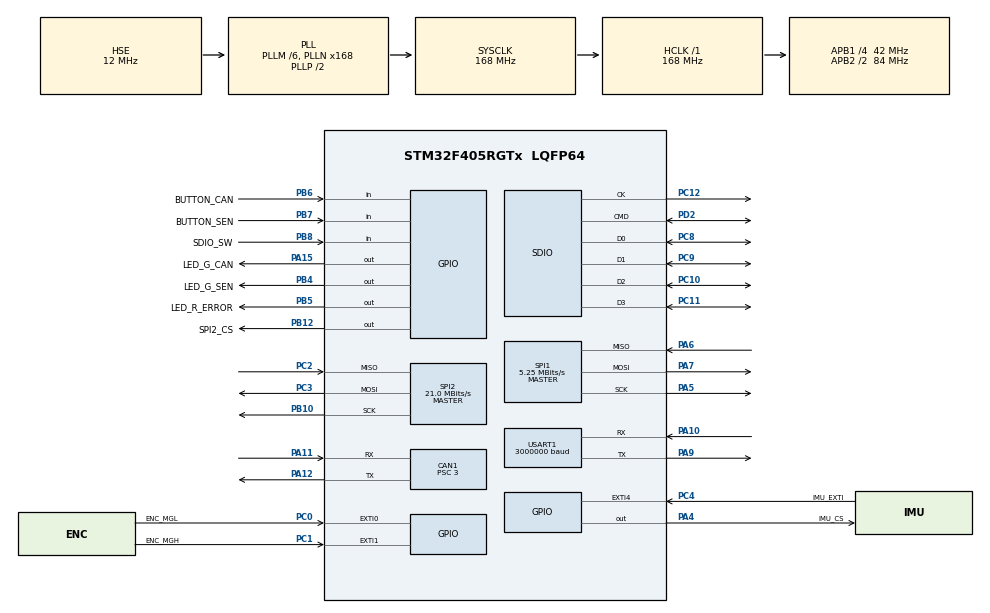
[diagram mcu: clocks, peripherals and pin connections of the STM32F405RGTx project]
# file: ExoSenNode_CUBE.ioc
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CAN1.AWUM=ENABLE
CAN1.BS1=CAN_BS1_6TQ
CAN1.BS2=CAN_BS2_7TQ
CAN1.CalculateTimeQuantum=71.42857142857143
CAN1.Prescaler=3
Dma.Request0=SPI1_RX
Dma.Request1=SPI1_TX
Dma.Request2=SPI2_RX
Dma.Request3=SPI2_TX
Dma.Request4=SDIO_RX
Dma.Request5=SDIO_TX
Dma.SDIO_RX.4.Direction=DMA_PERIPH_TO_MEMORY
Dma.SDIO_RX.4.FIFOMode=DMA_FIFOMODE_ENABLE
Dma.SDIO_RX.4.FIFOThreshold=DMA_FIFO_THRESHOLD_FULL
Dma.SDIO_RX.4.Instance=DMA2_Stream6
Dma.SDIO_RX.4.MemBurst=DMA_MBURST_INC4
Dma.SDIO_RX.4.MemDataAlignment=DMA_MDATAALIGN_WORD
Dma.SDIO_RX.4.MemInc=DMA_MINC_ENABLE
Dma.SDIO_RX.4.Mode=DMA_PFCTRL
Dma.SDIO_RX.4.PeriphBurst=DMA_PBURST_INC4
Dma.SDIO_RX.4.PeriphDataAlignment=DMA_PDATAALIGN_WORD
Dma.SDIO_RX.4.PeriphInc=DMA_PINC_DISABLE
Dma.SDIO_RX.4.Priority=DMA_PRIORITY_LOW
Dma.SDIO_TX.5.Direction=DMA_MEMORY_TO_PERIPH
Dma.SDIO_TX.5.FIFOMode=DMA_FIFOMODE_ENABLE
Dma.SDIO_TX.5.FIFOThreshold=DMA_FIFO_THRESHOLD_FULL
Dma.SDIO_TX.5.Instance=DMA2_Stream3
Dma.SDIO_TX.5.MemBurst=DMA_MBURST_INC4
Dma.SDIO_TX.5.MemDataAlignment=DMA_MDATAALIGN_WORD
Dma.SDIO_TX.5.MemInc=DMA_MINC_ENABLE
Dma.SDIO_TX.5.Mode=DMA_PFCTRL
Dma.SDIO_TX.5.PeriphBurst=DMA_PBURST_INC4
Dma.SDIO_TX.5.PeriphDataAlignment=DMA_PDATAALIGN_WORD
Dma.SDIO_TX.5.PeriphInc=DMA_PINC_DISABLE
Dma.SDIO_TX.5.Priority=DMA_PRIORITY_LOW
Dma.SPI1_RX.0.Direction=DMA_PERIPH_TO_MEMORY
Dma.SPI1_RX.0.FIFOMode=DMA_FIFOMODE_DISABLE
Dma.SPI1_RX.0.Instance=DMA2_Stream0
Dma.SPI1_RX.0.MemDataAlignment=DMA_MDATAALIGN_BYTE
Dma.SPI1_RX.0.MemInc=DMA_MINC_ENABLE
Dma.SPI1_RX.0.Mode=DMA_CIRCULAR
Dma.SPI1_RX.0.PeriphDataAlignment=DMA_PDATAALIGN_BYTE
Dma.SPI1_RX.0.PeriphInc=DMA_PINC_DISABLE
Dma.SPI1_RX.0.Priority=DMA_PRIORITY_MEDIUM
Dma.SPI1_TX.1.Direction=DMA_MEMORY_TO_PERIPH
Dma.SPI1_TX.1.FIFOMode=DMA_FIFOMODE_DISABLE
Dma.SPI1_TX.1.Instance=DMA2_Stream5
Dma.SPI1_TX.1.MemDataAlignment=DMA_MDATAALIGN_BYTE
Dma.SPI1_TX.1.MemInc=DMA_MINC_ENABLE
Dma.SPI1_TX.1.Mode=DMA_NORMAL
Dma.SPI1_TX.1.PeriphDataAlignment=DMA_PDATAALIGN_BYTE
Dma.SPI1_TX.1.PeriphInc=DMA_PINC_DISABLE
Dma.SPI1_TX.1.Priority=DMA_PRIORITY_LOW
Dma.SPI2_RX.2.Direction=DMA_PERIPH_TO_MEMORY
Dma.SPI2_RX.2.FIFOMode=DMA_FIFOMODE_ENABLE
Dma.SPI2_RX.2.FIFOThreshold=DMA_FIFO_THRESHOLD_FULL
Dma.SPI2_RX.2.Instance=DMA1_Stream3
Dma.SPI2_RX.2.MemBurst=DMA_MBURST_SINGLE
Dma.SPI2_RX.2.MemDataAlignment=DMA_MDATAALIGN_HALFWORD
Dma.SPI2_RX.2.MemInc=DMA_MINC_DISABLE
Dma.SPI2_RX.2.Mode=DMA_NORMAL
Dma.SPI2_RX.2.PeriphBurst=DMA_PBURST_SINGLE
Dma.SPI2_RX.2.PeriphDataAlignment=DMA_PDATAALIGN_HALFWORD
Dma.SPI2_RX.2.PeriphInc=DMA_PINC_DISABLE
Dma.SPI2_RX.2.Priority=DMA_PRIORITY_MEDIUM
Dma.SPI2_TX.3.Direction=DMA_MEMORY_TO_PERIPH
Dma.SPI2_TX.3.FIFOMode=DMA_FIFOMODE_DISABLE
Dma.SPI2_TX.3.Instance=DMA1_Stream4
Dma.SPI2_TX.3.MemDataAlignment=DMA_MDATAALIGN_HALFWORD
Dma.SPI2_TX.3.MemInc=DMA_MINC_ENABLE
Dma.SPI2_TX.3.Mode=DMA_NORMAL
Dma.SPI2_TX.3.PeriphDataAlignment=DMA_PDATAALIGN_HALFWORD
Dma.SPI2_TX.3.PeriphInc=DMA_PINC_DISABLE
Dma.SPI2_TX.3.Priority=DMA_PRIORITY_LOW
FATFS.BSP.number=1
FATFS._USE_LFN=2
FATFS0.BSP.STBoard=false
FATFS0.BSP.api=Unknown
FATFS0.BSP.i2caddr=0
FATFS0.BSP.instance=PB8
FATFS0.BSP.ip=GPIO
FATFS0.BSP.mode=Input
FATFS0.BSP.name=Detect_SDIO
FATFS0.BSP.solution=PB8
FREERTOS.INCLUDE_uxTaskGetStackHighWaterMark=1
FREERTOS.INCLUDE_vTaskDelayUntil=1
FREERTOS.MEMORY_ALLOCATION=2
FREERTOS.Tasks01=fatfsThread,0,256,fatfsThreadFunc,As weak,NULL,Static,fatfsThreadStack,fatfsThreadTCB
FREERTOS.configCHECK_FOR_STACK_OVERFLOW=1
FREERTOS.configGENERATE_RUN_TIME_STATS=1
FREERTOS.configRECORD_STACK_HIGH_ADDRESS=1
FREERTOS.configTOTAL_HEAP_SIZE=16384
FREERTOS.configUSE_DAEMON_TASK_STARTUP_HOOK=1
FREERTOS.configUSE_IDLE_HOOK=1
FREERTOS.configUSE_MALLOC_FAILED_HOOK=1
FREERTOS.configUSE_STATS_FORMATTING_FUNCTIONS=1
FREERTOS.configUSE_TICKLESS_IDLE=1
FREERTOS.configUSE_TICK_HOOK=1
FREERTOS.configUSE_TIMERS=1
FREERTOS.configUSE_TRACE_FACILITY=1
Mcu.Family=STM32F4
Mcu.Name=STM32F405RGTx
Mcu.Package=LQFP64
NVIC.CAN1_RX0_IRQn=true\:5\:0\:false\:false\:true\:true\:true\:true
NVIC.CAN1_RX1_IRQn=true\:5\:0\:false\:false\:true\:true\:true\:true
NVIC.CAN1_SCE_IRQn=true\:5\:0\:false\:false\:true\:true\:true\:true
NVIC.CAN1_TX_IRQn=true\:5\:0\:false\:false\:true\:true\:true\:true
NVIC.DMA1_Stream3_IRQn=true\:5\:0\:false\:false\:true\:true\:false\:true
NVIC.DMA1_Stream4_IRQn=true\:5\:0\:false\:false\:true\:true\:false\:true
NVIC.DMA2_Stream0_IRQn=true\:5\:0\:false\:false\:true\:true\:false\:true
NVIC.DMA2_Stream3_IRQn=true\:5\:0\:false\:false\:true\:true\:false\:true
NVIC.DMA2_Stream5_IRQn=true\:5\:0\:false\:false\:true\:false\:false\:true
NVIC.DMA2_Stream6_IRQn=true\:5\:0\:false\:false\:true\:true\:false\:true
NVIC.PriorityGroup=NVIC_PRIORITYGROUP_4
NVIC.SDIO_IRQn=true\:5\:0\:true\:false\:true\:true\:true\:true
NVIC.SPI1_IRQn=true\:5\:0\:false\:false\:true\:true\:true\:true
NVIC.SPI2_IRQn=true\:5\:0\:false\:false\:true\:true\:true\:true
NVIC.TIM6_DAC_IRQn=true\:0\:0\:false\:false\:true\:false\:false\:true
NVIC.TimeBase=TIM6_DAC_IRQn
NVIC.TimeBaseIP=TIM6
NVIC.USART1_IRQn=true\:5\:0\:false\:false\:true\:true\:true\:true
PA10.Mode=Asynchronous
PA10.Signal=USART1_RX
PA11.Mode=Master
PA11.Signal=CAN1_RX
PA12.Mode=Master
PA12.Signal=CAN1_TX
PA13.Mode=Trace_Asynchronous_SW
PA13.Signal=SYS_JTMS-SWDIO
PA14.Mode=Trace_Asynchronous_SW
PA14.Signal=SYS_JTCK-SWCLK
PA15.GPIO_Label=LED_G_CAN
PA15.Signal=GPIO_Output
PA4.GPIO_Label=IMU_CS
PA4.GPIO_Speed=GPIO_SPEED_FREQ_VERY_HIGH
PA4.PinState=GPIO_PIN_SET
PA4.Signal=GPIO_Output
PA5.Mode=Full_Duplex_Master
PA5.Signal=SPI1_SCK
PA6.Mode=Full_Duplex_Master
PA6.Signal=SPI1_MISO
PA7.Mode=Full_Duplex_Master
PA7.Signal=SPI1_MOSI
PA9.Mode=Asynchronous
PA9.Signal=USART1_TX
PB10.Mode=Full_Duplex_Master
PB10.Signal=SPI2_SCK
PB12.GPIO_Label=SPI2_CS
PB12.GPIO_ModeDefaultOutputPP=GPIO_MODE_OUTPUT_PP
PB12.GPIO_PuPd=GPIO_NOPULL
PB12.GPIO_Speed=GPIO_SPEED_FREQ_VERY_HIGH
PB12.PinState=GPIO_PIN_SET
PB12.Signal=GPIO_Output
PB3.Mode=Trace_Asynchronous_SW
PB3.Signal=SYS_JTDO-SWO
PB4.GPIO_Label=LED_G_SEN
PB4.Signal=GPIO_Output
PB5.GPIO_Label=LED_R_ERROR
PB5.Signal=GPIO_Output
PB6.GPIO_Label=BUTTON_CAN
PB6.Signal=GPIO_Input
PB7.GPIO_Label=BUTTON_SEN
PB7.Signal=GPIO_Input
PB8.GPIO_Label=SDIO_SW
PB8.Signal=GPIO_Input
PC0.GPIO_Label=ENC_MGL
PC0.Signal=GPXTI0
PC1.GPIO_Label=ENC_MGH
PC1.Signal=GPXTI1
PC10.Mode=SD_4_bits_Wide_bus
PC10.Signal=SDIO_D2
PC11.Mode=SD_4_bits_Wide_bus
PC11.Signal=SDIO_D3
PC12.Mode=SD_4_bits_Wide_bus
PC12.Signal=SDIO_CK
PC2.Mode=Full_Duplex_Master
PC2.Signal=SPI2_MISO
PC3.Mode=Full_Duplex_Master
PC3.Signal=SPI2_MOSI
PC4.GPIO_Label=IMU_EXTI
PC4.Signal=GPXTI4
PC8.Mode=SD_4_bits_Wide_bus
PC8.Signal=SDIO_D0
PC9.Mode=SD_4_bits_Wide_bus
PC9.Signal=SDIO_D1
PD2.Mode=SD_4_bits_Wide_bus
PD2.Signal=SDIO_CMD
PH0-OSC_IN.Mode=HSE-External-Oscillator
PH0-OSC_IN.Signal=RCC_OSC_IN
PH1-OSC_OUT.Mode=HSE-External-Oscillator
PH1-OSC_OUT.Signal=RCC_OSC_OUT
ProjectManager.HeapSize=0x200
ProjectManager.StackSize=0x400
ProjectManager.TargetToolchain=Makefile
RCC.48MHZClocksFreq_Value=48000000
RCC.AHBFreq_Value=168000000
RCC.APB1CLKDivider=RCC_HCLK_DIV4
RCC.APB1Freq_Value=42000000
RCC.APB1TimFreq_Value=84000000
RCC.APB2CLKDivider=RCC_HCLK_DIV2
RCC.APB2Freq_Value=84000000
RCC.APB2TimFreq_Value=168000000
RCC.CortexFreq_Value=168000000
RCC.HCLKFreq_Value=168000000
RCC.HSE_VALUE=12000000
RCC.HSI_VALUE=16000000
RCC.LSE_VALUE=32768
RCC.PLLM=6
RCC.PLLN=168
RCC.PLLQ=7
RCC.PLLSourceVirtual=RCC_PLLSOURCE_HSE
RCC.SYSCLKFreq_VALUE=168000000
RCC.SYSCLKSource=RCC_SYSCLKSOURCE_PLLCLK
RCC.VCOOutputFreq_Value=336000000
SPI1.BaudRatePrescaler=SPI_BAUDRATEPRESCALER_16
SPI1.CLKPolarity=SPI_POLARITY_LOW
SPI1.CalculateBaudRate=5.25 MBits/s
SPI1.Direction=SPI_DIRECTION_2LINES
SPI1.Mode=SPI_MODE_MASTER
SPI1.VirtualType=VM_MASTER
SPI2.BaudRatePrescaler=SPI_BAUDRATEPRESCALER_2
SPI2.CLKPolarity=SPI_POLARITY_HIGH
SPI2.CalculateBaudRate=21.0 MBits/s
SPI2.DataSize=SPI_DATASIZE_16BIT
SPI2.Direction=SPI_DIRECTION_2LINES
SPI2.Mode=SPI_MODE_MASTER
SPI2.VirtualType=VM_MASTER
USART1.BaudRate=3000000
USART1.VirtualMode=VM_ASYNC
VP_FATFS_VS_SDIO.Mode=SDIO
VP_FREERTOS_VS_CMSIS_V1.Mode=CMSIS_V1
VP_SYS_VS_tim6.Mode=TIM6
board=custom

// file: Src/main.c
/* USER CODE BEGIN Header */
/**
  ******************************************************************************
  * @file           : main.c
  * @brief          : Main program body
  ******************************************************************************
  * This notice applies to any and all portions of this file
  * that are not between comment pairs USER CODE BEGIN and
  * USER CODE END. Other portions of this file, whether
  * inserted by the user or by software development tools
  * are owned by their respective copyright owners.
  *
  * Copyright (c) 2019 STMicroelectronics International N.V.
  * All rights reserved.
  *
  * Redistribution and use in source and binary forms, with or without
  * modification, are permitted, provided that the following conditions are met:
  *
  * 1. Redistribution of source code must retain the above copyright notice,
  *    this list of conditions and the following disclaimer.
  * 2. Redistributions in binary form must reproduce the above copyright notice,
  *    this list of conditions and the following disclaimer in the documentation
  *    and/or other materials provided with the distribution.
  * 3. Neither the name of STMicroelectronics nor the names of other
  *    contributors to this software may be used to endorse or promote products
  *    derived from this software without specific written permission.
  * 4. This software, including modifications and/or derivative works of this
  *    software, must execute solely and exclusively on microcontroller or
  *    microprocessor devices manufactured by or for STMicroelectronics.
  * 5. Redistribution and use of this software other than as permitted under
  *    this license is void and will automatically terminate your rights under
  *    this license.
  *
  * THIS SOFTWARE IS PROVIDED BY STMICROELECTRONICS AND CONTRIBUTORS "AS IS"
  * AND ANY EXPRESS, IMPLIED OR STATUTORY WARRANTIES, INCLUDING, BUT NOT
  * LIMITED TO, THE IMPLIED WARRANTIES OF MERCHANTABILITY, FITNESS FOR A
  * PARTICULAR PURPOSE AND NON-INFRINGEMENT OF THIRD PARTY INTELLECTUAL PROPERTY
  * RIGHTS ARE DISCLAIMED TO THE FULLEST EXTENT PERMITTED BY LAW. IN NO EVENT
  * SHALL STMICROELECTRONICS OR CONTRIBUTORS BE LIABLE FOR ANY DIRECT, INDIRECT,
  * INCIDENTAL, SPECIAL, EXEMPLARY, OR CONSEQUENTIAL DAMAGES (INCLUDING, BUT NOT
  * LIMITED TO, PROCUREMENT OF SUBSTITUTE GOODS OR SERVICES; LOSS OF USE, DATA,
  * OR PROFITS; OR BUSINESS INTERRUPTION) HOWEVER CAUSED AND ON ANY THEORY OF
  * LIABILITY, WHETHER IN CONTRACT, STRICT LIABILITY, OR TORT (INCLUDING
  * NEGLIGENCE OR OTHERWISE) ARISING IN ANY WAY OUT OF THE USE OF THIS SOFTWARE,
  * EVEN IF ADVISED OF THE POSSIBILITY OF SUCH DAMAGE.
  *
  ******************************************************************************
  */
/* USER CODE END Header */

#include "main.h"
#include "cmsis_os.h"
#include "can.h"
#include "dma.h"
#include "fatfs.h"
#include "sdio.h"
#include "spi.h"
#include "usart.h"
#include "gpio.h"

/* USER CODE BEGIN Includes */

#include "bsp_driver_sd.h"
#include "stm32f4xx_hal.h"
#include "fatfs.h"
#include "sdio.h"
#include "sd_card.h"
#include "flash.h"

#include "SEGGER_SYSVIEW.h"

/* USER CODE END Includes */

/* USER CODE BEGIN PV */
uint8_t isMaster = 0;
uint8_t sensorNodeID = 0;
int32_t timeDiffMaster = 0;    //delay in tick between this node and master node, eq to masterTick - selfTick
/* USER CODE END PV */

void SystemClock_Config(void);
void MX_FREERTOS_Init(void);

int main(void)
{
  /* USER CODE BEGIN 1 */
  DWT->CTRL |= (1 << 0);    //enable cortex m DWT cycle counting
  /* USER CODE END 1 */

  /* MCU Configuration--------------------------------------------------------*/

  /* Reset of all peripherals, Initializes the Flash interface and the Systick. */
  HAL_Init();

  /* Configure the system clock */
  SystemClock_Config();

  /* USER CODE BEGIN SysInit */
  SEGGER_SYSVIEW_Conf();
  /* USER CODE END SysInit */

  /* Initialize all configured peripherals */
  MX_GPIO_Init();
  MX_DMA_Init();
  MX_CAN1_Init();
  MX_SDIO_SD_Init();
  MX_SPI1_Init();
  MX_USART1_UART_Init();
  MX_SPI2_Init();
  /* USER CODE BEGIN 2 */

  gFlashSaveFlag = FLASH_SAVE_READY;    //Setup flash parameter saving and loading
  flashLoad(NULL);                      //Load default set of parameters

  //canIDInit();    // Initialize can ID

  /* USER CODE END 2 */

  /* Call init function for freertos objects (in freertos.c) */
  MX_FREERTOS_Init();

  /* Start scheduler */
  osKernelStart();

  /* We should never get here as control is now taken by the scheduler */

  /* Infinite loop */
  while (1)
  {

  }
}

void SystemClock_Config(void)
{
  RCC_OscInitTypeDef RCC_OscInitStruct = {0};
  RCC_ClkInitTypeDef RCC_ClkInitStruct = {0};

  /** Configure the main internal regulator output voltage
  */
  __HAL_RCC_PWR_CLK_ENABLE();
  __HAL_PWR_VOLTAGESCALING_CONFIG(PWR_REGULATOR_VOLTAGE_SCALE1);
  /** Initializes the CPU, AHB and APB busses clocks
  */
  RCC_OscInitStruct.OscillatorType = RCC_OSCILLATORTYPE_HSE;
  RCC_OscInitStruct.HSEState = RCC_HSE_ON;
  RCC_OscInitStruct.PLL.PLLState = RCC_PLL_ON;
  RCC_OscInitStruct.PLL.PLLSource = RCC_PLLSOURCE_HSE;
  RCC_OscInitStruct.PLL.PLLM = 6;
  RCC_OscInitStruct.PLL.PLLN = 168;
  RCC_OscInitStruct.PLL.PLLP = RCC_PLLP_DIV2;
  RCC_OscInitStruct.PLL.PLLQ = 7;
  if (HAL_RCC_OscConfig(&RCC_OscInitStruct) != HAL_OK)
  {
    Error_Handler();
  }
  /** Initializes the CPU, AHB and APB busses clocks
  */
  RCC_ClkInitStruct.ClockType = RCC_CLOCKTYPE_HCLK|RCC_CLOCKTYPE_SYSCLK
                              |RCC_CLOCKTYPE_PCLK1|RCC_CLOCKTYPE_PCLK2;
  RCC_ClkInitStruct.SYSCLKSource = RCC_SYSCLKSOURCE_PLLCLK;
  RCC_ClkInitStruct.AHBCLKDivider = RCC_SYSCLK_DIV1;
  RCC_ClkInitStruct.APB1CLKDivider = RCC_HCLK_DIV4;
  RCC_ClkInitStruct.APB2CLKDivider = RCC_HCLK_DIV2;

  if (HAL_RCC_ClockConfig(&RCC_ClkInitStruct, FLASH_LATENCY_5) != HAL_OK)
  {
    Error_Handler();
  }
}

void HAL_TIM_PeriodElapsedCallback(TIM_HandleTypeDef *htim)
{
  if (htim->Instance == TIM6) {
    HAL_IncTick();
  }
}

void Error_Handler(void)
{
}

/************************ (C) COPYRIGHT STMicroelectronics *****END OF FILE****/

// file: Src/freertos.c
/* USER CODE BEGIN Header */
/**
  ******************************************************************************
  * File Name          : freertos.c
  * Description        : Code for freertos applications
  ******************************************************************************
  * This notice applies to any and all portions of this file
  * that are not between comment pairs USER CODE BEGIN and
  * USER CODE END. Other portions of this file, whether
  * inserted by the user or by software development tools
  * are owned by their respective copyright owners.
  *
  * Copyright (c) 2019 STMicroelectronics International N.V.
  * All rights reserved.
  *
  * Redistribution and use in source and binary forms, with or without
  * modification, are permitted, provided that the following conditions are met:
  *
  * 1. Redistribution of source code must retain the above copyright notice,
  *    this list of conditions and the following disclaimer.
  * 2. Redistributions in binary form must reproduce the above copyright notice,
  *    this list of conditions and the following disclaimer in the documentation
  *    and/or other materials provided with the distribution.
  * 3. Neither the name of STMicroelectronics nor the names of other
  *    contributors to this software may be used to endorse or promote products
  *    derived from this software without specific written permission.
  * 4. This software, including modifications and/or derivative works of this
  *    software, must execute solely and exclusively on microcontroller or
  *    microprocessor devices manufactured by or for STMicroelectronics.
  * 5. Redistribution and use of this software other than as permitted under
  *    this license is void and will automatically terminate your rights under
  *    this license.
  *
  * THIS SOFTWARE IS PROVIDED BY STMICROELECTRONICS AND CONTRIBUTORS "AS IS"
  * AND ANY EXPRESS, IMPLIED OR STATUTORY WARRANTIES, INCLUDING, BUT NOT
  * LIMITED TO, THE IMPLIED WARRANTIES OF MERCHANTABILITY, FITNESS FOR A
  * PARTICULAR PURPOSE AND NON-INFRINGEMENT OF THIRD PARTY INTELLECTUAL PROPERTY
  * RIGHTS ARE DISCLAIMED TO THE FULLEST EXTENT PERMITTED BY LAW. IN NO EVENT
  * SHALL STMICROELECTRONICS OR CONTRIBUTORS BE LIABLE FOR ANY DIRECT, INDIRECT,
  * INCIDENTAL, SPECIAL, EXEMPLARY, OR CONSEQUENTIAL DAMAGES (INCLUDING, BUT NOT
  * LIMITED TO, PROCUREMENT OF SUBSTITUTE GOODS OR SERVICES; LOSS OF USE, DATA,
  * OR PROFITS; OR BUSINESS INTERRUPTION) HOWEVER CAUSED AND ON ANY THEORY OF
  * LIABILITY, WHETHER IN CONTRACT, STRICT LIABILITY, OR TORT (INCLUDING
  * NEGLIGENCE OR OTHERWISE) ARISING IN ANY WAY OUT OF THE USE OF THIS SOFTWARE,
  * EVEN IF ADVISED OF THE POSSIBILITY OF SUCH DAMAGE.
  *
  ******************************************************************************
  */
/* USER CODE END Header */

#include "FreeRTOS.h"
#include "task.h"
#include "main.h"
#include "cmsis_os.h"

/* USER CODE BEGIN Includes */
#include "spi.h"
#include "can.h"
#include "bsp_driver_sd.h"
#include "stm32f4xx_hal.h"
#include "fatfs.h"
#include "sdio.h"
#include "sd_card.h"
#include "ICM20602.h"
#include "flash.h"
#include "MA730.h"
#include "queue.h"
#include "userIO.h"
/* USER CODE END Includes */

/* USER CODE BEGIN Variables */

// static uint8_t spiImuTxData[16];
// static uint8_t spiImuRxData[16];
uint16_t magRxData;
//static uint16_t magTxData;
static uint8_t imuDataQueueBuffer[ 1024 * sizeof( imuDataFrame_t ) ];
static StaticQueue_t imuDataQueueControlBlock;
QueueHandle_t imuDataQueueHandle;

/* USER CODE END Variables */
osThreadId fatfsThreadHandle;
uint32_t fatfsThreadStack[ 256 ];
osStaticThreadDef_t fatfsThreadTCB;

void fatfsThreadFunc(void const * argument);

extern void MX_FATFS_Init(void);
void MX_FREERTOS_Init(void); /* (MISRA C 2004 rule 8.1) */

/* Pre/Post sleep processing prototypes */
void PreSleepProcessing(uint32_t *ulExpectedIdleTime);
void PostSleepProcessing(uint32_t *ulExpectedIdleTime);

/* GetIdleTaskMemory prototype (linked to static allocation support) */
void vApplicationGetIdleTaskMemory( StaticTask_t **ppxIdleTaskTCBBuffer, StackType_t **ppxIdleTaskStackBuffer, uint32_t *pulIdleTaskStackSize );

/* GetTimerTaskMemory prototype (linked to static allocation support) */
void vApplicationGetTimerTaskMemory( StaticTask_t **ppxTimerTaskTCBBuffer, StackType_t **ppxTimerTaskStackBuffer, uint32_t *pulTimerTaskStackSize );

/* Hook prototypes */
void configureTimerForRunTimeStats(void);
unsigned long getRunTimeCounterValue(void);
void vApplicationIdleHook(void);
void vApplicationTickHook(void);
void vApplicationStackOverflowHook(xTaskHandle xTask, signed char *pcTaskName);
void vApplicationMallocFailedHook(void);
void vApplicationDaemonTaskStartupHook(void);

/* USER CODE BEGIN 1 */
/* Functions needed when configGENERATE_RUN_TIME_STATS is on */
__weak void configureTimerForRunTimeStats(void)
{

}

__weak unsigned long getRunTimeCounterValue(void)
{
return 0;
}
/* USER CODE END 1 */

/* USER CODE BEGIN 2 */
__weak void vApplicationIdleHook( void )
{
   /* vApplicationIdleHook() will only be called if configUSE_IDLE_HOOK is set
   to 1 in FreeRTOSConfig.h. It will be called on each iteration of the idle
   task. It is essential that code added to this hook function never attempts
   to block in any way (for example, call xQueueReceive() with a block time
   specified, or call vTaskDelay()). If the application makes use of the
   vTaskDelete() API function (as this demo application does) then it is also
   important that vApplicationIdleHook() is permitted to return to its calling
   function, because it is the responsibility of the idle task to clean up
   memory allocated by the kernel to any task that has since been deleted. */
}
/* USER CODE END 2 */

/* USER CODE BEGIN 3 */
__weak void vApplicationTickHook( void )
{
   /* This function will be called by each tick interrupt if
   configUSE_TICK_HOOK is set to 1 in FreeRTOSConfig.h. User code can be
   added here, but the tick hook is called from an interrupt context, so
   code must not attempt to block, and only the interrupt safe FreeRTOS API
   functions can be used (those that end in FromISR()). */
}
/* USER CODE END 3 */

/* USER CODE BEGIN 4 */
__weak void vApplicationStackOverflowHook(xTaskHandle xTask, signed char *pcTaskName)
{
   /* Run time stack overflow checking is performed if
   configCHECK_FOR_STACK_OVERFLOW is defined to 1 or 2. This hook function is
   called if a stack overflow is detected. */
}
/* USER CODE END 4 */

/* USER CODE BEGIN 5 */
__weak void vApplicationMallocFailedHook(void)
{
   /* vApplicationMallocFailedHook() will only be called if
   configUSE_MALLOC_FAILED_HOOK is set to 1 in FreeRTOSConfig.h. It is a hook
   function that will get called if a call to pvPortMalloc() fails.
   pvPortMalloc() is called internally by the kernel whenever a task, queue,
   timer or semaphore is created. It is also called by various parts of the
   demo application. If heap_1.c or heap_2.c are used, then the size of the
   heap available to pvPortMalloc() is defined by configTOTAL_HEAP_SIZE in
   FreeRTOSConfig.h, and the xPortGetFreeHeapSize() API function can be used
   to query the size of free heap space that remains (although it does not
   provide information on how the remaining heap might be fragmented). */
}
/* USER CODE END 5 */

/* USER CODE BEGIN DAEMON_TASK_STARTUP_HOOK */
void vApplicationDaemonTaskStartupHook(void)
{
}
/* USER CODE END DAEMON_TASK_STARTUP_HOOK */

/* USER CODE BEGIN PREPOSTSLEEP */
__weak void PreSleepProcessing(uint32_t *ulExpectedIdleTime)
{
/* place for user code */
}

__weak void PostSleepProcessing(uint32_t *ulExpectedIdleTime)
{
/* place for user code */
}
/* USER CODE END PREPOSTSLEEP */

/* USER CODE BEGIN GET_IDLE_TASK_MEMORY */
static StaticTask_t xIdleTaskTCBBuffer;
static StackType_t xIdleStack[configMINIMAL_STACK_SIZE];

void vApplicationGetIdleTaskMemory( StaticTask_t **ppxIdleTaskTCBBuffer, StackType_t **ppxIdleTaskStackBuffer, uint32_t *pulIdleTaskStackSize )
{
  *ppxIdleTaskTCBBuffer = &xIdleTaskTCBBuffer;
  *ppxIdleTaskStackBuffer = &xIdleStack[0];
  *pulIdleTaskStackSize = configMINIMAL_STACK_SIZE;
  /* place for user code */
}
/* USER CODE END GET_IDLE_TASK_MEMORY */

/* USER CODE BEGIN GET_TIMER_TASK_MEMORY */
static StaticTask_t xTimerTaskTCBBuffer;
static StackType_t xTimerStack[configTIMER_TASK_STACK_DEPTH];

void vApplicationGetTimerTaskMemory( StaticTask_t **ppxTimerTaskTCBBuffer, StackType_t **ppxTimerTaskStackBuffer, uint32_t *pulTimerTaskStackSize )
{
  *ppxTimerTaskTCBBuffer = &xTimerTaskTCBBuffer;
  *ppxTimerTaskStackBuffer = &xTimerStack[0];
  *pulTimerTaskStackSize = configTIMER_TASK_STACK_DEPTH;
  /* place for user code */
}
/* USER CODE END GET_TIMER_TASK_MEMORY */

void MX_FREERTOS_Init(void) {

  /* USER CODE BEGIN RTOS_QUEUES */
  /* add queues, ... */
  imuDataQueueHandle = xQueueCreateStatic(1024, sizeof(imuDataFrame_t), imuDataQueueBuffer, &imuDataQueueControlBlock);
  /* USER CODE END RTOS_QUEUES */

  /* Create the thread(s) */
  /* definition and creation of fatfsThread */
  osThreadStaticDef(fatfsThread, fatfsThreadFunc, osPriorityNormal, 0, 256, fatfsThreadStack, &fatfsThreadTCB);
  fatfsThreadHandle = osThreadCreate(osThread(fatfsThread), NULL);

  /* USER CODE BEGIN RTOS_THREADS */
  /* add threads, ... */

  buttonSetup();
  startCanTx(NULL);
  startCanRx();
  startIMUSampling(NULL);
  startFlashSave(NULL);

  /* USER CODE END RTOS_THREADS */

}

__weak void fatfsThreadFunc(void const * argument)
{
  /* init code for FATFS */
  MX_FATFS_Init();

  for(;;)
  {
    osDelay(1);
  }
}

/************************ (C) COPYRIGHT STMicroelectronics *****END OF FILE****/
